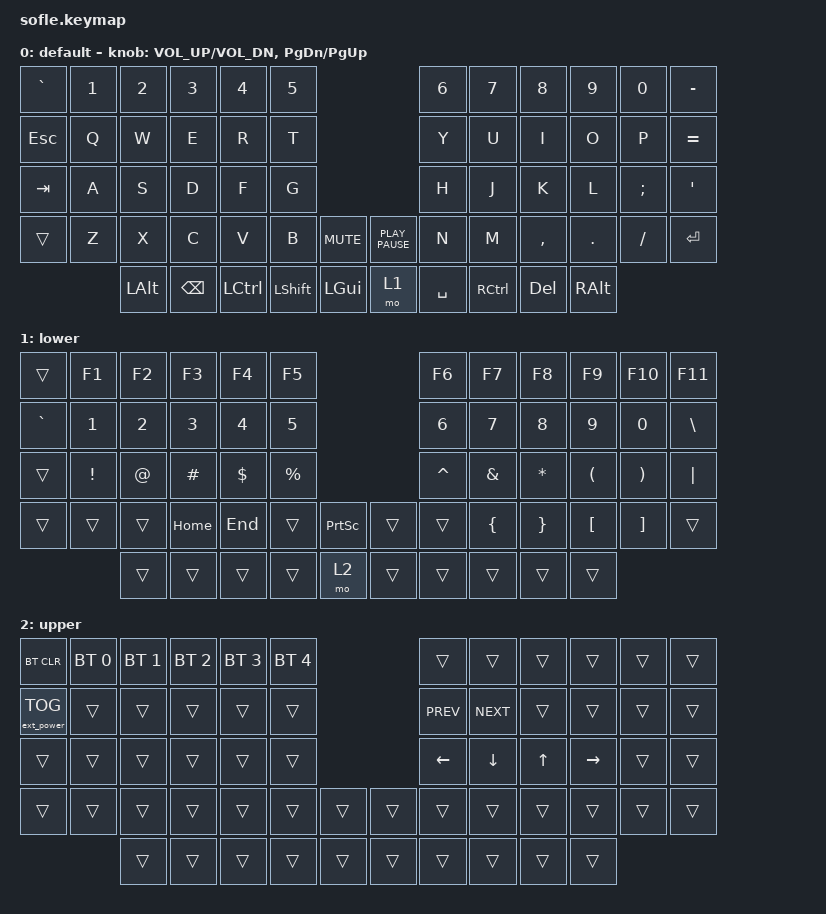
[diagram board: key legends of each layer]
/*
 * Copyright (c) 2020 The ZMK Contributors
 *
 * SPDX-License-Identifier: MIT
 */

#include <behaviors.dtsi>
#include <dt-bindings/zmk/bt.h>
#include <dt-bindings/zmk/ext_power.h>
#include <dt-bindings/zmk/keys.h>

#define BASE 0
#define LOWER 1
#define UPPER 2

/ {
    // Activate ADJUST layer by pressing raise and lower

    keymap {
        compatible = "zmk,keymap";

        default_layer {
            display-name = "default";
            bindings = <
&kp GRAVE  &kp N1  &kp N2        &kp N3         &kp N4     &kp N5                                       &kp N6     &kp N7     &kp N8     &kp N9    &kp N0    &kp MINUS
&kp ESC    &kp Q   &kp W         &kp E          &kp R      &kp T                                        &kp Y      &kp U      &kp I      &kp O     &kp P     &kp EQUAL
&kp TAB    &kp A   &kp S         &kp D          &kp F      &kp G                                        &kp H      &kp J      &kp K      &kp L     &kp SEMI  &kp SQT
&trans     &kp Z   &kp X         &kp C          &kp V      &kp B      &kp C_MUTE      &kp K_PLAY_PAUSE  &kp N      &kp M      &kp COMMA  &kp DOT   &kp FSLH  &kp RET
                   &kp LEFT_ALT  &kp BACKSPACE  &kp LCTRL  &kp LSHFT  &kp LEFT_GUI    &mo 1             &kp SPACE  &kp RCTRL  &kp DEL    &kp RALT
            >;

            sensor-bindings =
                <&inc_dec_kp C_VOL_UP C_VOL_DN>,
                <&inc_dec_kp PG_DN PG_UP>;
        };

        lower_layer {
            display-name = "lower";
            bindings = <
&trans     &kp F1    &kp F2  &kp F3    &kp F4    &kp F5                                &kp F6     &kp F7    &kp F8     &kp F9            &kp F10            &kp F11
&kp GRAVE  &kp N1    &kp N2  &kp N3    &kp N4    &kp N5                                &kp N6     &kp N7    &kp N8     &kp N9            &kp N0             &kp BACKSLASH
&trans     &kp EXCL  &kp AT  &kp HASH  &kp DLLR  &kp PRCNT                             &kp CARET  &kp AMPS  &kp ASTRK  &kp LPAR          &kp RPAR           &kp PIPE
&trans     &trans    &trans  &kp HOME  &kp END   &trans     &kp PRINTSCREEN    &trans  &trans     &kp LBRC  &kp RBRC   &kp LEFT_BRACKET  &kp RIGHT_BRACKET  &trans
                     &trans  &trans    &trans    &trans     &mo 2              &trans  &trans     &trans    &trans     &trans
            >;
        };

        upper_layer {
            display-name = "upper";
            bindings = <
&bt BT_CLR         &bt BT_SEL 0  &bt BT_SEL 1  &bt BT_SEL 2  &bt BT_SEL 3  &bt BT_SEL 4                    &trans      &trans      &trans  &trans     &trans  &trans
&ext_power EP_TOG  &trans        &trans        &trans        &trans        &trans                          &kp C_PREV  &kp C_NEXT  &trans  &trans     &trans  &trans
&trans             &trans        &trans        &trans        &trans        &trans                          &kp LEFT    &kp DOWN    &kp UP  &kp RIGHT  &trans  &trans
&trans             &trans        &trans        &trans        &trans        &trans        &trans    &trans  &trans      &trans      &trans  &trans     &trans  &trans
                                 &trans        &trans        &trans        &trans        &trans    &trans  &trans      &trans      &trans  &trans
            >;
        };
    };
};

